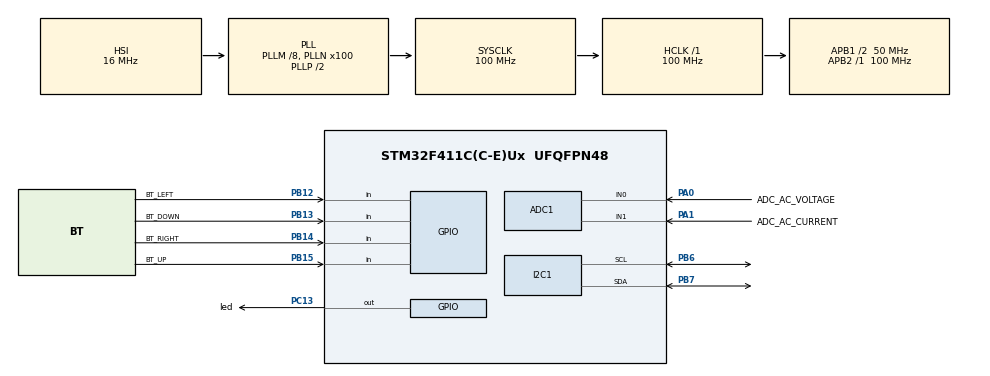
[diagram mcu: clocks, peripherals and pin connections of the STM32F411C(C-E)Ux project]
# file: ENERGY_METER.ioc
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ADC1.Channel-0\#ChannelRegularConversion=ADC_CHANNEL_0
ADC1.Channel-1\#ChannelRegularConversion=ADC_CHANNEL_1
ADC1.ContinuousConvMode=ENABLE
ADC1.DMAContinuousRequests=ENABLE
ADC1.NbrOfConversion=2
ADC1.NbrOfConversionFlag=1
ADC1.Rank-0\#ChannelRegularConversion=1
ADC1.Rank-1\#ChannelRegularConversion=2
ADC1.SamplingTime-0\#ChannelRegularConversion=ADC_SAMPLETIME_480CYCLES
ADC1.SamplingTime-1\#ChannelRegularConversion=ADC_SAMPLETIME_480CYCLES
ADC1.master=1
Dma.ADC1.0.Direction=DMA_PERIPH_TO_MEMORY
Dma.ADC1.0.FIFOMode=DMA_FIFOMODE_DISABLE
Dma.ADC1.0.Instance=DMA2_Stream0
Dma.ADC1.0.MemDataAlignment=DMA_MDATAALIGN_HALFWORD
Dma.ADC1.0.MemInc=DMA_MINC_ENABLE
Dma.ADC1.0.Mode=DMA_CIRCULAR
Dma.ADC1.0.PeriphDataAlignment=DMA_PDATAALIGN_HALFWORD
Dma.ADC1.0.PeriphInc=DMA_PINC_DISABLE
Dma.ADC1.0.Priority=DMA_PRIORITY_VERY_HIGH
Dma.Request0=ADC1
Mcu.Family=STM32F4
Mcu.Name=STM32F411C(C-E)Ux
Mcu.Package=UFQFPN48
NVIC.ADC_IRQn=true\:0\:0\:false\:false\:true\:true\:true\:true
NVIC.DMA2_Stream0_IRQn=true\:0\:0\:false\:false\:true\:false\:true\:true
NVIC.PriorityGroup=NVIC_PRIORITYGROUP_4
PA0-WKUP.GPIO_Label=ADC_AC_VOLTAGE
PA0-WKUP.Signal=ADCx_IN0
PA1.GPIO_Label=ADC_AC_CURRENT
PA1.Signal=ADCx_IN1
PA13.Mode=Serial_Wire
PA13.Signal=SYS_JTMS-SWDIO
PA14.Mode=Serial_Wire
PA14.Signal=SYS_JTCK-SWCLK
PB12.GPIO_Label=BT_LEFT
PB12.Signal=GPIO_Input
PB13.GPIO_Label=BT_DOWN
PB13.Signal=GPIO_Input
PB14.GPIO_Label=BT_RIGHT
PB14.Signal=GPIO_Input
PB15.GPIO_Label=BT_UP
PB15.Signal=GPIO_Input
PB6.Mode=I2C
PB6.Signal=I2C1_SCL
PB7.Mode=I2C
PB7.Signal=I2C1_SDA
PC13-ANTI_TAMP.GPIO_Label=led
PC13-ANTI_TAMP.Signal=GPIO_Output
PH0\ -\ OSC_IN.Mode=HSE-External-Oscillator
PH0\ -\ OSC_IN.Signal=RCC_OSC_IN
PH1\ -\ OSC_OUT.Mode=HSE-External-Oscillator
PH1\ -\ OSC_OUT.Signal=RCC_OSC_OUT
ProjectManager.HeapSize=0x200
ProjectManager.StackSize=0x400
ProjectManager.TargetToolchain=STM32CubeIDE
RCC.48MHZClocksFreq_Value=50000000
RCC.AHBFreq_Value=100000000
RCC.APB1CLKDivider=RCC_HCLK_DIV2
RCC.APB1Freq_Value=50000000
RCC.APB1TimFreq_Value=100000000
RCC.APB2Freq_Value=100000000
RCC.APB2TimFreq_Value=100000000
RCC.CortexFreq_Value=100000000
RCC.HCLKFreq_Value=100000000
RCC.HSE_VALUE=25000000
RCC.HSI_VALUE=16000000
RCC.LSE_VALUE=32768
RCC.PLLM=8
RCC.PLLN=100
RCC.SYSCLKFreq_VALUE=100000000
RCC.SYSCLKSource=RCC_SYSCLKSOURCE_PLLCLK
RCC.VCOOutputFreq_Value=200000000
SH.ADCx_IN0.0=ADC1_IN0,IN0
SH.ADCx_IN1.0=ADC1_IN1,IN1
board=custom

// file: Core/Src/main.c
/* USER CODE BEGIN Header */
/**
  ******************************************************************************
  * @file           : main.c
  * @brief          : Main program body
  ******************************************************************************
  * @attention
  *
  * Copyright (c) 2024 STMicroelectronics.
  * All rights reserved.
  *
  * This software is licensed under terms that can be found in the LICENSE file
  * in the root directory of this software component.
  * If no LICENSE file comes with this software, it is provided AS-IS.
  *
  ******************************************************************************
  */
/* USER CODE END Header */
#include "main.h"

/* USER CODE BEGIN Includes */

#include "sl.h"
#include "ssd1306.h"
#include "ssd1306_fonts.h"
#include "ssd1306_tests.h"
#include  "stdio.h"
#include "math.h"

/* USER CODE END Includes */

ADC_HandleTypeDef hadc1;
DMA_HandleTypeDef hdma_adc1;

I2C_HandleTypeDef hi2c1;

void SystemClock_Config(void);
static void MX_GPIO_Init(void);
static void MX_DMA_Init(void);
static void MX_I2C1_Init(void);
static void MX_ADC1_Init(void);

/* USER CODE BEGIN 0 */

uint16_t adc[2];
uint32_t samples[300] = {0};

float calculate_rms(uint16_t sam[], size_t num_samples) {
    float sum_squared = 0.0;

    for (size_t i = 0; i < num_samples; i++)
    {
        sum_squared += sam[i] * sam[i];
    }

    float mean_squared = sum_squared / num_samples;
    return sqrt(mean_squared);
}

/* USER CODE END 0 */

int main(void)
{

  /* MCU Configuration--------------------------------------------------------*/

  /* Reset of all peripherals, Initializes the Flash interface and the Systick. */
  HAL_Init();

  /* Configure the system clock */
  SystemClock_Config();

  /* Initialize all configured peripherals */
  MX_GPIO_Init();
  MX_DMA_Init();
  MX_I2C1_Init();
  MX_ADC1_Init();
  /* USER CODE BEGIN 2 */
  HAL_ADC_Start_DMA(&hadc1, (uint32_t*) adc, 2);
  ssd1306_Init();
  ssd1306_Fill(Black);
  sl_init();

  /* USER CODE END 2 */

  /* Infinite loop */
  while (1)
  {

    /* USER CODE BEGIN 3 */
    HAL_GPIO_TogglePin(led_GPIO_Port,led_Pin);

    // for(uint8_t index = 0; index < 300; index ++)
    // {

    //   samples[index] = adc[0];
    // }

    // float g = calculate_rms(*samples, 300);

    // float v = ((g/4095.0)*3.3) - 1.5;

    //   ssd1306_Fill(Black);
    // char buff0[30];

    // sprintf(buff0,"%.4d", 2 );
    // ssd1306_SetCursor(10, 10);
    // ssd1306_WriteString(buff0, Font_7x10, White);

    // ssd1306_UpdateScreen();

    sl_update();
  }
  /* USER CODE END 3 */
}

void SystemClock_Config(void)
{
  RCC_OscInitTypeDef RCC_OscInitStruct = {0};
  RCC_ClkInitTypeDef RCC_ClkInitStruct = {0};

  /** Configure the main internal regulator output voltage
  */
  __HAL_RCC_PWR_CLK_ENABLE();
  __HAL_PWR_VOLTAGESCALING_CONFIG(PWR_REGULATOR_VOLTAGE_SCALE1);

  /** Initializes the RCC Oscillators according to the specified parameters
  * in the RCC_OscInitTypeDef structure.
  */
  RCC_OscInitStruct.OscillatorType = RCC_OSCILLATORTYPE_HSI;
  RCC_OscInitStruct.HSIState = RCC_HSI_ON;
  RCC_OscInitStruct.HSICalibrationValue = RCC_HSICALIBRATION_DEFAULT;
  RCC_OscInitStruct.PLL.PLLState = RCC_PLL_ON;
  RCC_OscInitStruct.PLL.PLLSource = RCC_PLLSOURCE_HSI;
  RCC_OscInitStruct.PLL.PLLM = 8;
  RCC_OscInitStruct.PLL.PLLN = 100;
  RCC_OscInitStruct.PLL.PLLP = RCC_PLLP_DIV2;
  RCC_OscInitStruct.PLL.PLLQ = 4;
  if (HAL_RCC_OscConfig(&RCC_OscInitStruct) != HAL_OK)
  {
    Error_Handler();
  }

  /** Initializes the CPU, AHB and APB buses clocks
  */
  RCC_ClkInitStruct.ClockType = RCC_CLOCKTYPE_HCLK|RCC_CLOCKTYPE_SYSCLK
                              |RCC_CLOCKTYPE_PCLK1|RCC_CLOCKTYPE_PCLK2;
  RCC_ClkInitStruct.SYSCLKSource = RCC_SYSCLKSOURCE_PLLCLK;
  RCC_ClkInitStruct.AHBCLKDivider = RCC_SYSCLK_DIV1;
  RCC_ClkInitStruct.APB1CLKDivider = RCC_HCLK_DIV2;
  RCC_ClkInitStruct.APB2CLKDivider = RCC_HCLK_DIV1;

  if (HAL_RCC_ClockConfig(&RCC_ClkInitStruct, FLASH_LATENCY_3) != HAL_OK)
  {
    Error_Handler();
  }
}

static void MX_ADC1_Init(void)
{

  ADC_ChannelConfTypeDef sConfig = {0};

  /** Configure the global features of the ADC (Clock, Resolution, Data Alignment and number of conversion)
  */
  hadc1.Instance = ADC1;
  hadc1.Init.ClockPrescaler = ADC_CLOCK_SYNC_PCLK_DIV4;
  hadc1.Init.Resolution = ADC_RESOLUTION_12B;
  hadc1.Init.ScanConvMode = ENABLE;
  hadc1.Init.ContinuousConvMode = ENABLE;
  hadc1.Init.DiscontinuousConvMode = DISABLE;
  hadc1.Init.ExternalTrigConvEdge = ADC_EXTERNALTRIGCONVEDGE_NONE;
  hadc1.Init.ExternalTrigConv = ADC_SOFTWARE_START;
  hadc1.Init.DataAlign = ADC_DATAALIGN_RIGHT;
  hadc1.Init.NbrOfConversion = 2;
  hadc1.Init.DMAContinuousRequests = ENABLE;
  hadc1.Init.EOCSelection = ADC_EOC_SINGLE_CONV;
  if (HAL_ADC_Init(&hadc1) != HAL_OK)
  {
    Error_Handler();
  }

  /** Configure for the selected ADC regular channel its corresponding rank in the sequencer and its sample time.
  */
  sConfig.Channel = ADC_CHANNEL_0;
  sConfig.Rank = 1;
  sConfig.SamplingTime = ADC_SAMPLETIME_480CYCLES;
  if (HAL_ADC_ConfigChannel(&hadc1, &sConfig) != HAL_OK)
  {
    Error_Handler();
  }

  /** Configure for the selected ADC regular channel its corresponding rank in the sequencer and its sample time.
  */
  sConfig.Channel = ADC_CHANNEL_1;
  sConfig.Rank = 2;
  if (HAL_ADC_ConfigChannel(&hadc1, &sConfig) != HAL_OK)
  {
    Error_Handler();
  }

}

static void MX_I2C1_Init(void)
{

  hi2c1.Instance = I2C1;
  hi2c1.Init.ClockSpeed = 100000;
  hi2c1.Init.DutyCycle = I2C_DUTYCYCLE_2;
  hi2c1.Init.OwnAddress1 = 0;
  hi2c1.Init.AddressingMode = I2C_ADDRESSINGMODE_7BIT;
  hi2c1.Init.DualAddressMode = I2C_DUALADDRESS_DISABLE;
  hi2c1.Init.OwnAddress2 = 0;
  hi2c1.Init.GeneralCallMode = I2C_GENERALCALL_DISABLE;
  hi2c1.Init.NoStretchMode = I2C_NOSTRETCH_DISABLE;
  if (HAL_I2C_Init(&hi2c1) != HAL_OK)
  {
    Error_Handler();
  }

}

static void MX_DMA_Init(void)
{

  /* DMA controller clock enable */
  __HAL_RCC_DMA2_CLK_ENABLE();

  /* DMA interrupt init */
  /* DMA2_Stream0_IRQn interrupt configuration */
  HAL_NVIC_SetPriority(DMA2_Stream0_IRQn, 0, 0);
  HAL_NVIC_EnableIRQ(DMA2_Stream0_IRQn);

}

static void MX_GPIO_Init(void)
{
  GPIO_InitTypeDef GPIO_InitStruct = {0};

  /* GPIO Ports Clock Enable */
  __HAL_RCC_GPIOC_CLK_ENABLE();
  __HAL_RCC_GPIOH_CLK_ENABLE();
  __HAL_RCC_GPIOA_CLK_ENABLE();
  __HAL_RCC_GPIOB_CLK_ENABLE();

  /*Configure GPIO pin Output Level */
  HAL_GPIO_WritePin(led_GPIO_Port, led_Pin, GPIO_PIN_RESET);

  /*Configure GPIO pin : led_Pin */
  GPIO_InitStruct.Pin = led_Pin;
  GPIO_InitStruct.Mode = GPIO_MODE_OUTPUT_PP;
  GPIO_InitStruct.Pull = GPIO_NOPULL;
  GPIO_InitStruct.Speed = GPIO_SPEED_FREQ_LOW;
  HAL_GPIO_Init(led_GPIO_Port, &GPIO_InitStruct);

  /*Configure GPIO pins : BT_LEFT_Pin BT_DOWN_Pin BT_RIGHT_Pin BT_UP_Pin */
  GPIO_InitStruct.Pin = BT_LEFT_Pin|BT_DOWN_Pin|BT_RIGHT_Pin|BT_UP_Pin;
  GPIO_InitStruct.Mode = GPIO_MODE_INPUT;
  GPIO_InitStruct.Pull = GPIO_NOPULL;
  HAL_GPIO_Init(GPIOB, &GPIO_InitStruct);

}

void Error_Handler(void)
{
  __disable_irq();
  while (1)
  {
  }
}
